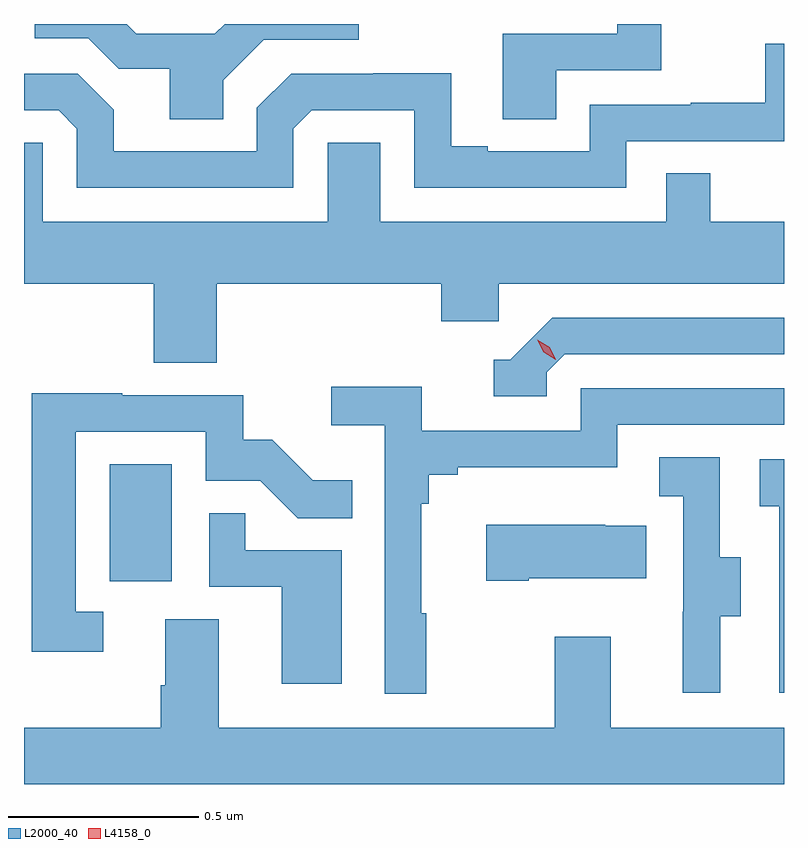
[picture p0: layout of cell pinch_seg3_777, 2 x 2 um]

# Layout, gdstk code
import gdstk
lib = gdstk.Library(unit=1e-6, precision=1e-09)
def R(c, l, rs):  # rectangles x0, y0, x1, y1
    for r in rs: c.add(gdstk.rectangle(r[:2], r[2:], *l))
def P(c, l, *ps):  # polygons
    for p in ps: c.add(gdstk.Polygon(p, *l))
L2000_40 = (2000, 40)
L4158_0 = (4158, 0)

pinch_seg3_777 = lib.new_cell('pinch_seg3_777')
R(pinch_seg3_777, L2000_40, [(833.762,737.43,833.926,737.737)])
P(pinch_seg3_777, L2000_40, [(834.937,738.774),(835.214,738.774),(835.214,738.896),(835.098,738.896),(835.098,738.87),(834.797,738.87),(834.797,738.646),(834.937,738.646)],
  [(834.061,738.748),(834.168,738.855),(834.418,738.855),(834.418,738.896),(834.065,738.896),(834.039,738.87),(833.833,738.87),(833.807,738.896),(833.565,738.896),(833.565,738.858),(833.706,738.858),(833.786,738.778),(833.921,738.778),(833.921,738.646),(834.061,738.646)],
  [(834.246,738.621),(834.294,738.669),(834.564,738.669),(834.564,738.465),(835.122,738.465),(835.122,738.588),(835.537,738.588),(835.537,738.844),(835.488,738.844),(835.488,738.689),(835.291,738.689),(835.291,738.684),(835.026,738.684),(835.026,738.561),(834.757,738.561),(834.757,738.574),(834.661,738.574),(834.661,738.767),(834.456,738.767),(834.456,738.765),(834.24,738.765),(834.15,738.675),(834.15,738.561),(833.773,738.561),(833.773,738.671),(833.679,738.765),(833.537,738.765),(833.537,738.669),(833.628,738.669),(833.676,738.621),(833.676,738.465),(834.246,738.465)],
  [(834.044,738.212),(834.635,738.212),(834.635,738.114),(834.786,738.114),(834.786,738.212),(835.537,738.212),(835.537,738.376),(835.343,738.376),(835.343,738.503),(835.227,738.503),(835.227,738.376),(834.475,738.376),(834.475,738.584),(834.336,738.584),(834.336,738.376),(833.586,738.376),(833.586,738.584),(833.537,738.584),(833.537,738.212),(833.879,738.212),(833.879,738.004),(834.044,738.004)],
  [(834.912,737.979),(834.96,738.027),(835.537,738.027),(835.537,738.123),(834.927,738.123),(834.816,738.012),(834.773,738.012),(834.773,737.916),(834.912,737.916)],
  [(834.595,737.345),(834.583,737.345),(834.583,737.633),(834.602,737.633),(834.602,737.71),(834.679,737.71),(834.679,737.729),(835.098,737.729),(835.098,737.841),(835.537,737.841),(835.537,737.937),(835.002,737.937),(835.002,737.826),(834.584,737.826),(834.584,737.942),(834.345,737.942),(834.345,737.84),(834.486,737.84),(834.486,737.133),(834.595,737.133)],
  [(833.746,737.349),(833.673,737.349),(833.673,737.823),(834.015,737.823),(834.015,737.694),(834.159,737.694),(834.257,737.596),(834.401,737.596),(834.401,737.695),(834.297,737.695),(834.19,737.802),(834.114,737.802),(834.114,737.919),(833.795,737.919),(833.795,737.924),(833.557,737.924),(833.557,737.244),(833.746,737.244)],
  [(835.369,737.338),(835.423,737.338),(835.423,737.493),(835.368,737.493),(835.368,737.756),(835.209,737.756),(835.209,737.653),(835.272,737.653),(835.272,737.349),(835.271,737.349),(835.271,737.136),(835.369,737.136)],
  [(835.537,737.751),(835.473,737.751),(835.473,737.627),(835.524,737.627),(835.524,737.136),(835.537,737.136)],
  [(834.373,737.511),(834.119,737.511),(834.119,737.609),(834.024,737.609),(834.024,737.415),(834.215,737.415),(834.215,737.16),(834.373,737.16)],
  [(834.865,737.438),(835.175,737.438),(835.175,737.575),(835.067,737.575),(835.067,737.578),(834.753,737.578),(834.753,737.431),(834.865,737.431)],
  [(835.537,737.044),(835.081,737.044),(835.081,737.284),(834.934,737.284),(834.934,737.044),(834.049,737.044),(834.049,737.33),(833.909,737.33),(833.909,737.156),(833.897,737.156),(833.897,737.044),(833.537,737.044),(833.537,736.896),(835.537,736.896)])
P(pinch_seg3_777, L4158_0, [(834.936,738.012),(834.905,738.032),(834.888,738.065),(834.888,738.065),(834.888,738.065),(834.92,738.046),(834.936,738.013),(834.936,738.012)])

lib.write_gds('pinch_seg3_777.gds')
